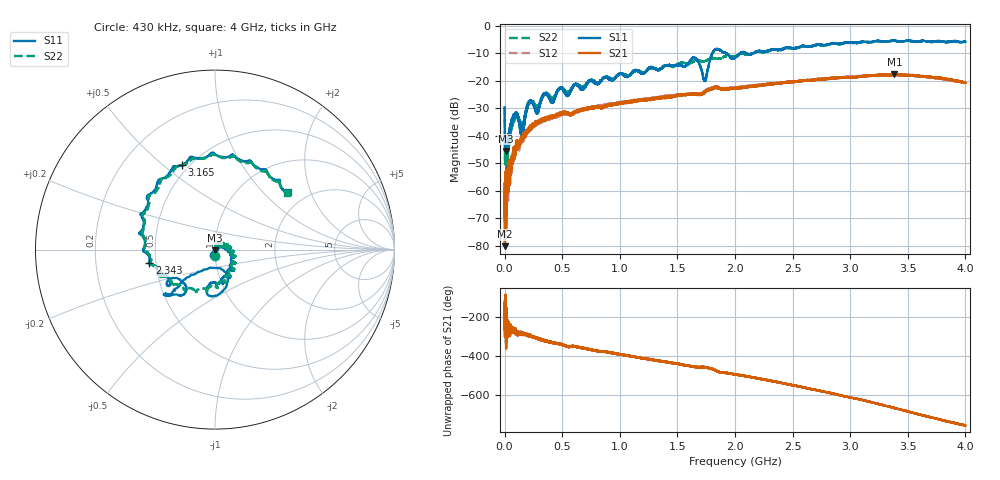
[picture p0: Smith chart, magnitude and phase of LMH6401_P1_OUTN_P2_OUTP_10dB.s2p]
!Keysight Technologies N9917A: A.08.18
!Date: Saturday, 27 May 2023 17:07:58
!Timezone: (GMT-07:00) Mountain Time (US & Canada)
!Model: N9917A
!Serial: MY52401314
!GPS Latitude:
!GPS Longitude:
!GPS TimeStamp: 0001-01-01 00:00:00Z
!GPS Seconds Since Last Read: 0
!CHECKSUM:0182046706
!Correction: S11(ON U)S21(ON U)S12(ON U)S22(ON U)
!S2P File: Measurements:S11,S21,S12,S22:
# Hz S DB R 50
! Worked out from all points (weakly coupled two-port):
!   10000 points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, 430 kHz to 4 GHz, reference 50 ohm
!   highest |S21| = -17.64 dB at 3.384 GHz (marker M1); lowest = -80.1 dB at 3.63 MHz (marker M2)
!   lowest |S11| = -45.5 dB at 12.83 MHz (marker M3), VSWR 1.01, Z = 49.8 - j0.467 ohm
!   |S11| at or under -10 dB: start of sweep to 1.804 GHz; 1.923 GHz to 2.043 GHz (119.5 MHz wide, 6.03 % of centre); 2.096 GHz to 2.156 GHz (60.27 MHz wide, 2.83 % of centre)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
!   |S22| runs from -53.2 to -5.4 dB; largest |S21 - S12| = 0.0087
!   S11 on the Smith chart (normalised r, x): 430 kHz: 0.99, -0.06; 2.343 GHz: 0.46, -0.08; 3.165 GHz: 0.46, +0.58; 4 GHz: 1.62, +1.40
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429997  -29.76 -100.0  -60.97 -162.2  -62.57 -153.2  -29.26 -94.5
3629973  -43.13 -142.3  -80.10 56.9  -56.82 -170.6  -44.30 -134.3
1.28299e7  -45.52 -117.7  -73.68 145.0  -63.93 85.4  -49.27 -144.2
2.402982e7  -43.08 -92.8  -54.95 109.8  -55.71 132.7  -48.31 -66.5
9.482929e7  -32.27 63.7  -43.72 85.2  -45.02 95.3  -32.23 61.5
1.524289e8  -40.51 49.3  -41.04 75.2  -41.55 71.1  -36.57 57.3
2.216283e8  -27.46 48.6  -37.11 60.3  -37.90 63.6  -27.81 50.7
2.820279e8  -31.04 44.6  -34.61 48.5  -35.79 50.5  -29.79 49.1
3.488274e8  -24.75 33.3  -34.02 34.5  -33.81 39.7  -24.77 34.5
4.116269e8  -27.69 28.9  -33.03 29.6  -33.42 29.5  -26.47 32.2
6.67225e8  -22.68 8.4  -30.46 1.1  -30.45 6.3  -22.28 7.2
1.33362e9  -16.01 -67.9  -26.27 -66.3  -25.94 -64.5  -15.82 -67.0
1.646818e9  -11.67 -92.5  -24.84 -96.7  -24.74 -96.4  -12.85 -100.7
1.738017e9  -19.86 -90.1  -24.10 -97.0  -23.83 -98.5  -12.86 -108.3
1.829216e9  -8.57 -136.8  -22.32 -113.3  -22.33 -113.0  -11.93 -115.1
2.000415e9  -11.63 -142.4  -22.79 -135.0  -22.44 -135.7  -11.08 -135.1
2.342812e9  -8.54 -168.3  -21.02 -171.1  -20.89 -172.4  -8.63 -167.3
2.66681e9  -7.36 158.0  -19.80 149.4  -19.67 148.8  -7.48 158.1
3.164806e9  -5.91 111.6  -18.21 85.7  -18.17 83.8  -5.99 111.0
3.333605e9  -5.60 94.2  -17.89 62.1  -17.94 58.4  -5.72 93.7
3.384405e9  -5.37 91.1  -17.64 53.2  -17.88 51.4  -5.50 90.4
4e9  -5.74 38.0  -20.66 -35.4  -20.62 -36.5  -5.75 38.0
